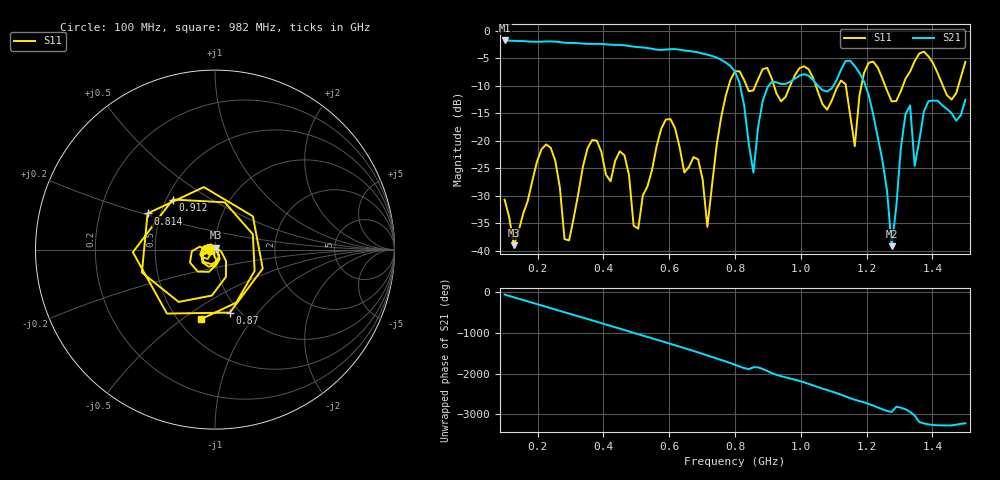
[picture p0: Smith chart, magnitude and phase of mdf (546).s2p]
! NanoVNA-App
! Date: 2025-09-25 15:42:40
! Start: 100MHz Stop: 1,5GHz Points: 101
! S-Parameter data: F S11 S21 S12 S22
# Hz S RI R 50
!  Frequency  S11_Real  S11_Imag  S21_Real  S21_Imag  S12_Real  S12_Imag  S22_Real  S22_Imag
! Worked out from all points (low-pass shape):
!   101 points, 100 MHz to 1.5 GHz, reference 50 ohm
!   highest |S21| = -1.80 dB at 100 MHz (marker M1); lowest = -39.2 dB at 1.276 GHz (marker M2)
!   |S21| within 3 dB of the highest: start of sweep to 739.1 MHz
!   lowest |S11| = -39.0 dB at 128 MHz (marker M3), VSWR 1.02, Z = 50.3 + j1.08 ohm
!   |S11| at or under -10 dB: start of sweep to 781 MHz; 1.045 GHz to 1.113 GHz (67.99 MHz wide, 6.3 % of centre); 1.256 GHz to 1.31 GHz (54.06 MHz wide, 4.21 % of centre)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
!   S12 and S22 are empty: the file has one direction only
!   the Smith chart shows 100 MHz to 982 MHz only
!   S11 on the Smith chart (normalised r, x): 100 MHz: 0.94, -0.01; 814 MHz: 0.42, +0.21; 870 MHz: 0.90, -0.73; 912 MHz: 0.54, +0.35; 982 MHz: 0.65, -0.59
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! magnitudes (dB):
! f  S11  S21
! 100 MHz  -30.7  -1.8
! 128 MHz  -39.0  -1.9
! 212 MHz  -21.6  -2.0
! 282 MHz  -37.9  -2.2
! 338 MHz  -24.7  -2.4
! 464 MHz  -22.6  -2.7
! 506 MHz  -36.0  -3.0
! 576 MHz  -17.8  -3.5
! 716 MHz  -35.7  -4.4
! 800 MHz  -7.4  -7.5
! 814 MHz  -7.4  -9.6
! 856 MHz  -10.9  -25.8
! 870 MHz  -8.9  -17.6
! 912 MHz  -8.8  -9.3
! 982 MHz  -8.1  -8.7
! 1.038 GHz  -8.7  -9.0
! 1.164 GHz  -21.0  -6.5
! 1.192 GHz  -7.7  -9.3
! 1.276 GHz  -12.9  -39.2
! 1.318 GHz  -8.8  -15.2
! 1.346 GHz  -5.6  -24.6
! 1.5 GHz  -5.7  -12.6
